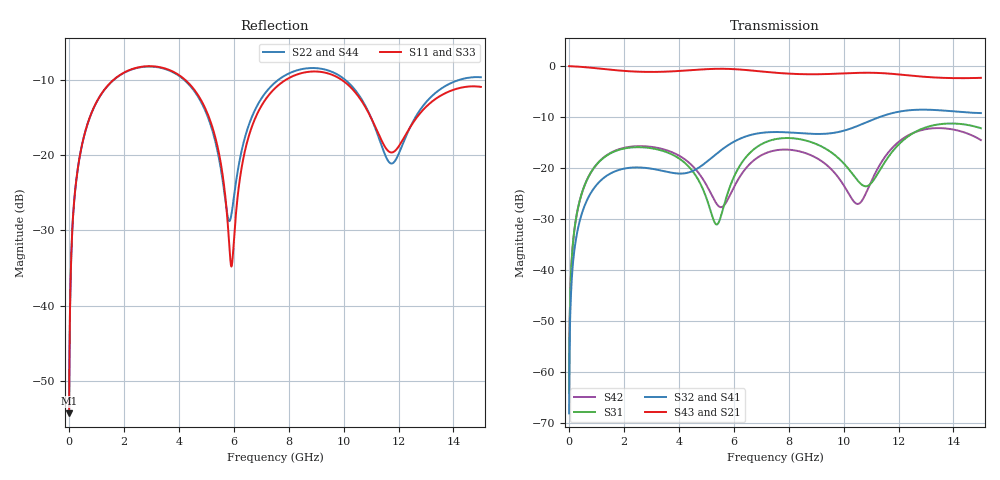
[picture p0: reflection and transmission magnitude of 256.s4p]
! Created with skrf 1.8.0 (http://scikit-rf.org).
# GHz S RI R 50.0
!freq ReS11 ImS11 ReS12 ImS12 ReS13 ImS13
! ReS14 ImS14
! ReS21 ImS21 ReS22 ImS22 ReS23 ImS23
! ReS24 ImS24
! ReS31 ImS31 ReS32 ImS32 ReS33 ImS33
! ReS34 ImS34
! ReS41 ImS41 ReS42 ImS42 ReS43 ImS43
! ReS44 ImS44
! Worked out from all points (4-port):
!   2499 points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, 5 MHz to 15 GHz, reference 50 ohm
!   strongest paths, dB at 5 MHz, 3.476 GHz, 7.19 GHz, 11.1 GHz, 15 GHz:
!     S43: 0.0, -1.1, -1.1, -1.3, -2.3
!     S21: 0.0, -1.1, -1.1, -1.3, -2.3
!     S32: -68.0, -20.6, -13.0, -10.4, -9.2
!     S41: -68.0, -20.6, -13.0, -10.4, -9.2
!     S31: -64.0, -16.7, -14.8, -22.3, -12.2
!     S42: -64.0, -16.3, -17.0, -21.6, -14.5
!   lowest |S11| = -54.3 dB at 5 MHz (marker M1), VSWR 1.00, Z = 50.2 + j0.116 ohm
!   |S11| at or under -10 dB: start of sweep to 1.608 GHz; 4.246 GHz to 7.874 GHz (3.628 GHz wide, 59.9 % of centre); 9.951 GHz to end of sweep
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0.005  0.00153 0.00116  0.9984 -0.00298  7.71e-05 0.000629  -7.49e-05 -0.00039
       0.9984 -0.00298  0.00153 0.00116  -7.49e-05 -0.00039  7.72e-05 0.000629
       7.71e-05 0.000629  -7.49e-05 -0.00039  0.00153 0.00116  0.9984 -0.00298
       -7.49e-05 -0.00039  7.72e-05 0.000629  0.9984 -0.00298  0.00153 0.00116
0.3126303  0.0214 0.0766  0.9709 -0.1856  0.00982 0.0376  -0.0083 -0.0232
           0.9709 -0.1856  0.0213 0.0766  -0.0083 -0.0232  0.0102 0.0376
           0.00982 0.0376  -0.0083 -0.0232  0.0214 0.0766  0.9709 -0.1856
           -0.0083 -0.0232  0.0102 0.0376  0.9709 -0.1856  0.0213 0.0766
1.569404  0.2521 0.1831  0.5878 -0.7058  0.1227 0.0724  -0.0895 -0.0126
          0.5878 -0.7058  0.2505 0.184  -0.0896 -0.0125  0.1279 0.066
          0.1227 0.0724  -0.0896 -0.0125  0.2521 0.1832  0.5878 -0.7058
          -0.0895 -0.0126  0.1279 0.066  0.5878 -0.7058  0.2505 0.184
5.914965  0.0182 -0.00103  -0.9353 -0.043  0.0461 0.0552  -0.00417 0.176
          -0.9353 -0.043  0.0377 0.0143  -0.0022 0.176  -0.0316 0.0488
          0.0461 0.0552  -0.0022 0.176  0.0208 -0.000587  -0.9354 -0.0429
          -0.00417 0.176  -0.0316 0.0488  -0.9354 -0.0429  0.0349 0.0148
9.172572  0.3586 -0.0229  0.0289 0.8333  0.1108 -0.1216  0.2085 -0.0567
          0.0289 0.8333  0.3732 -0.0561  0.2081 -0.0599  0.1038 -0.0573
          0.1108 -0.1216  0.2081 -0.0599  0.3597 -0.0251  0.0286 0.8328
          0.2085 -0.0567  0.1038 -0.0573  0.0286 0.8328  0.3751 -0.0537
11.81117  0.1051 -0.00264  0.8313 0.1067  -0.0029 0.1494  0.0408 -0.3466
          0.8313 0.1067  0.0891 -0.00238  0.0341 -0.3466  -0.0167 0.1613
          -0.0029 0.1494  0.0341 -0.3466  0.1087 -0.00703  0.8311 0.1081
          0.0408 -0.3466  -0.0167 0.1613  0.8311 0.1081  0.0863 -0.00445
15  0.2834 -0.0339  0.0992 -0.7603  0.1982 -0.1462  -0.3451 0.0304
    0.0992 -0.7603  0.3262 -0.0563  -0.3446 0.0383  0.1824 -0.0477
    0.1982 -0.1462  -0.3446 0.0383  0.2812 -0.0381  0.0998 -0.7608
    -0.3451 0.0304  0.1824 -0.0477  0.0998 -0.7608  0.3261 -0.0515
